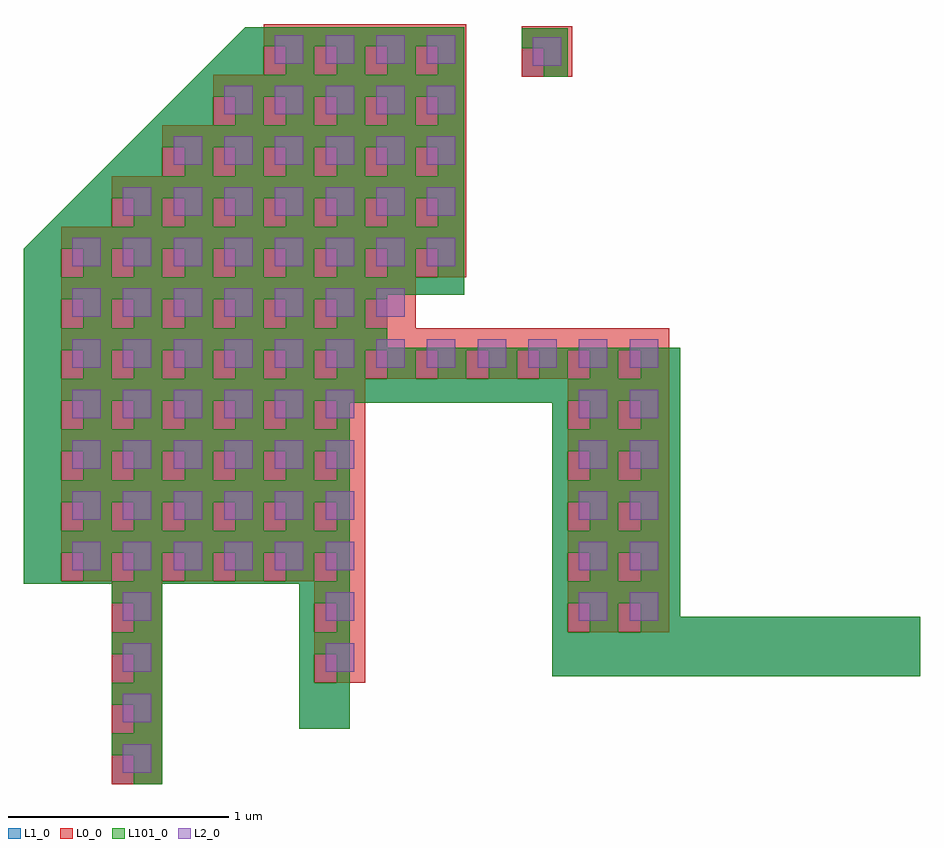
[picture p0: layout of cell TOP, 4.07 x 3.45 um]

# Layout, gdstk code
import gdstk
lib = gdstk.Library(unit=1e-6, precision=1e-09)
def R(c, l, rs):  # rectangles x0, y0, x1, y1
    for r in rs: c.add(gdstk.rectangle(r[:2], r[2:], *l))
def P(c, l, *ps):  # polygons
    for p in ps: c.add(gdstk.Polygon(p, *l))
L0_0 = (0, 0)
L1_0 = (1, 0)
L2_0 = (2, 0)
L101_0 = (101, 0)

fill_cell = lib.new_cell('FILL_CELL')
R(fill_cell, L0_0, [(-0.1,-0.13,0.13,0.1)])
R(fill_cell, L2_0, [(-0.05,-0.08,0.08,0.05)])

top = lib.new_cell('TOP')
R(top, L1_0, [(1.76,1.79,1.97,2.01)])
P(top, L1_0, [(-0.1,-1.42),(-0.1,-0.51),(-0.5,-0.51),(-0.5,1.01),(0.505,2.015),(1.5,2.015),(1.5,0.8),(1.15,0.8),(1.15,0.56),(2.48,0.56),(2.48,-0.66),(3.57,-0.66),(3.57,-0.93),(1.9,-0.93),(1.9,0.31),(0.98,0.31),(0.98,-1.17),(0.75,-1.17),(0.75,-0.51),(0.13,-0.51),(0.13,-1.42)])
P(top, L101_0, [(1.86,1.79),(1.86,1.92),(1.76,1.92),(1.76,2.01),(1.97,2.01),(1.97,1.79)],
  [(0,-1.42),(0,-1.29),(-0.1,-1.29),(-0.1,-1.19),(0,-1.19),(0,-1.06),(-0.1,-1.06),(-0.1,-0.96),(0,-0.96),(0,-0.83),(-0.1,-0.83),(-0.1,-0.73),(0,-0.73),(0,-0.6),(-0.1,-0.6),(-0.1,-0.51),(-0.5,-0.51),(-0.5,-0.37),(-0.33,-0.37),(-0.33,-0.5),(-0.23,-0.5),(-0.23,-0.37),(-0.1,-0.37),(-0.1,-0.5),(0,-0.5),(0,-0.37),(0.13,-0.37),(0.13,-0.5),(0.23,-0.5),(0.23,-0.37),(0.36,-0.37),(0.36,-0.5),(0.46,-0.5),(0.46,-0.37),(0.59,-0.37),(0.59,-0.5),(0.69,-0.5),(0.69,-0.37),(0.82,-0.37),(0.82,-0.5),(0.92,-0.5),(0.92,-0.37),(-0.5,-0.37),(-0.5,-0.14),(-0.33,-0.14),(-0.33,-0.27),(-0.23,-0.27),(-0.23,-0.14),(-0.1,-0.14),(-0.1,-0.27),(0,-0.27),(0,-0.14),(0.13,-0.14),(0.13,-0.27),(0.23,-0.27),(0.23,-0.14),(0.36,-0.14),(0.36,-0.27),(0.46,-0.27),(0.46,-0.14),(0.59,-0.14),(0.59,-0.27),(0.69,-0.27),(0.69,-0.14),(0.82,-0.14),(0.82,-0.27),(0.92,-0.27),(0.92,-0.14),(-0.5,-0.14),(-0.5,0.09),(-0.33,0.09),(-0.33,-0.04),(-0.23,-0.04),(-0.23,0.09),(-0.1,0.09),(-0.1,-0.04),(0,-0.04),(0,0.09),(0.13,0.09),(0.13,-0.04),(0.23,-0.04),(0.23,0.09),(0.36,0.09),(0.36,-0.04),(0.46,-0.04),(0.46,0.09),(0.59,0.09),(0.59,-0.04),(0.69,-0.04),(0.69,0.09),(0.82,0.09),(0.82,-0.04),(0.92,-0.04),(0.92,0.09),(-0.5,0.09),(-0.5,0.32),(-0.33,0.32),(-0.33,0.19),(-0.23,0.19),(-0.23,0.32),(-0.1,0.32),(-0.1,0.19),(0,0.19),(0,0.32),(0.13,0.32),(0.13,0.19),(0.23,0.19),(0.23,0.32),(0.36,0.32),(0.36,0.19),(0.46,0.19),(0.46,0.32),(0.59,0.32),(0.59,0.19),(0.69,0.19),(0.69,0.32),(0.82,0.32),(0.82,0.19),(0.92,0.19),(0.92,0.32),(1.97,0.32),(1.97,0.19),(2.07,0.19),(2.07,0.32),(2.2,0.32),(2.2,0.19),(2.3,0.19),(2.3,0.32),(-0.5,0.32),(-0.5,0.55),(-0.33,0.55),(-0.33,0.42),(-0.23,0.42),(-0.23,0.55),(-0.1,0.55),(-0.1,0.42),(0,0.42),(0,0.55),(0.13,0.55),(0.13,0.42),(0.23,0.42),(0.23,0.55),(0.36,0.55),(0.36,0.42),(0.46,0.42),(0.46,0.55),(0.59,0.55),(0.59,0.42),(0.69,0.42),(0.69,0.55),(0.82,0.55),(0.82,0.42),(0.92,0.42),(0.92,0.55),(1.05,0.55),(1.05,0.42),(1.15,0.42),(1.15,0.55),(1.28,0.55),(1.28,0.42),(1.38,0.42),(1.38,0.55),(1.51,0.55),(1.51,0.42),(1.61,0.42),(1.61,0.55),(1.74,0.55),(1.74,0.42),(1.84,0.42),(1.84,0.55),(1.97,0.55),(1.97,0.42),(2.07,0.42),(2.07,0.55),(2.2,0.55),(2.2,0.42),(2.3,0.42),(2.3,0.55),(-0.5,0.55),(-0.5,0.78),(-0.33,0.78),(-0.33,0.65),(-0.23,0.65),(-0.23,0.78),(-0.1,0.78),(-0.1,0.65),(0,0.65),(0,0.78),(0.13,0.78),(0.13,0.65),(0.23,0.65),(0.23,0.78),(0.36,0.78),(0.36,0.65),(0.46,0.65),(0.46,0.78),(0.59,0.78),(0.59,0.65),(0.69,0.65),(0.69,0.78),(0.82,0.78),(0.82,0.65),(0.92,0.65),(0.92,0.78),(-0.5,0.78),(-0.5,1.01),(-0.33,1.01),(-0.33,0.88),(-0.23,0.88),(-0.23,1.01),(-0.1,1.01),(-0.1,0.88),(0,0.88),(0,1.01),(0.13,1.01),(0.13,0.88),(0.23,0.88),(0.23,1.01),(0.36,1.01),(0.36,0.88),(0.46,0.88),(0.46,1.01),(0.59,1.01),(0.59,0.88),(0.69,0.88),(0.69,1.01),(0.82,1.01),(0.82,0.88),(0.92,0.88),(0.92,1.01),(1.05,1.01),(1.05,0.88),(1.15,0.88),(1.15,1.01),(1.28,1.01),(1.28,0.88),(1.38,0.88),(1.38,1.01),(-0.5,1.01),(-0.27,1.24),(-0.1,1.24),(-0.1,1.11),(0,1.11),(0,1.24),(0.13,1.24),(0.13,1.11),(0.23,1.11),(0.23,1.24),(0.36,1.24),(0.36,1.11),(0.46,1.11),(0.46,1.24),(0.59,1.24),(0.59,1.11),(0.69,1.11),(0.69,1.24),(0.82,1.24),(0.82,1.11),(0.92,1.11),(0.92,1.24),(1.05,1.24),(1.05,1.11),(1.15,1.11),(1.15,1.24),(1.28,1.24),(1.28,1.11),(1.38,1.11),(1.38,1.24),(-0.27,1.24),(-0.04,1.47),(0.13,1.47),(0.13,1.34),(0.23,1.34),(0.23,1.47),(0.36,1.47),(0.36,1.34),(0.46,1.34),(0.46,1.47),(0.59,1.47),(0.59,1.34),(0.69,1.34),(0.69,1.47),(0.82,1.47),(0.82,1.34),(0.92,1.34),(0.92,1.47),(1.05,1.47),(1.05,1.34),(1.15,1.34),(1.15,1.47),(1.28,1.47),(1.28,1.34),(1.38,1.34),(1.38,1.47),(-0.04,1.47),(0.19,1.7),(0.36,1.7),(0.36,1.57),(0.46,1.57),(0.46,1.7),(0.59,1.7),(0.59,1.57),(0.69,1.57),(0.69,1.7),(0.82,1.7),(0.82,1.57),(0.92,1.57),(0.92,1.7),(1.05,1.7),(1.05,1.57),(1.15,1.57),(1.15,1.7),(1.28,1.7),(1.28,1.57),(1.38,1.57),(1.38,1.7),(0.19,1.7),(0.42,1.93),(0.59,1.93),(0.59,1.8),(0.69,1.8),(0.69,1.93),(0.82,1.93),(0.82,1.8),(0.92,1.8),(0.92,1.93),(1.05,1.93),(1.05,1.8),(1.15,1.8),(1.15,1.93),(1.28,1.93),(1.28,1.8),(1.38,1.8),(1.38,1.93),(0.42,1.93),(0.505,2.015),(1.5,2.015),(1.5,0.8),(1.15,0.8),(1.15,0.78),(1.05,0.78),(1.05,0.65),(1.15,0.65),(1.15,0.56),(2.48,0.56),(2.48,-0.66),(3.57,-0.66),(3.57,-0.93),(1.9,-0.93),(1.9,-0.6),(1.97,-0.6),(1.97,-0.73),(2.07,-0.73),(2.07,-0.6),(2.2,-0.6),(2.2,-0.73),(2.3,-0.73),(2.3,-0.6),(1.9,-0.6),(1.9,-0.37),(1.97,-0.37),(1.97,-0.5),(2.07,-0.5),(2.07,-0.37),(2.2,-0.37),(2.2,-0.5),(2.3,-0.5),(2.3,-0.37),(1.9,-0.37),(1.9,-0.14),(1.97,-0.14),(1.97,-0.27),(2.07,-0.27),(2.07,-0.14),(2.2,-0.14),(2.2,-0.27),(2.3,-0.27),(2.3,-0.14),(1.9,-0.14),(1.9,0.09),(1.97,0.09),(1.97,-0.04),(2.07,-0.04),(2.07,0.09),(2.2,0.09),(2.2,-0.04),(2.3,-0.04),(2.3,0.09),(1.9,0.09),(1.9,0.31),(0.98,0.31),(0.98,-1.17),(0.75,-1.17),(0.75,-0.83),(0.82,-0.83),(0.82,-0.96),(0.92,-0.96),(0.92,-0.83),(0.75,-0.83),(0.75,-0.6),(0.82,-0.6),(0.82,-0.73),(0.92,-0.73),(0.92,-0.6),(0.75,-0.6),(0.75,-0.51),(0.13,-0.51),(0.13,-1.42)])
top.add(gdstk.Reference(fill_cell, (1.86,1.92)))
r = gdstk.Reference(fill_cell, (-0.23,-0.37)); r.repetition = gdstk.Repetition(1, 7, v1=(0,0), v2=(0,0.23)); top.add(r)
r = gdstk.Reference(fill_cell, (0,-1.29)); r.repetition = gdstk.Repetition(1, 12, v1=(0,0), v2=(0,0.23)); top.add(r)
r = gdstk.Reference(fill_cell, (0.23,-0.37)); r.repetition = gdstk.Repetition(1, 9, v1=(0,0), v2=(0,0.23)); top.add(r)
r = gdstk.Reference(fill_cell, (0.46,-0.37)); r.repetition = gdstk.Repetition(1, 10, v1=(0,0), v2=(0,0.23)); top.add(r)
r = gdstk.Reference(fill_cell, (0.69,-0.37)); r.repetition = gdstk.Repetition(1, 11, v1=(0,0), v2=(0,0.23)); top.add(r)
r = gdstk.Reference(fill_cell, (0.92,-0.83)); r.repetition = gdstk.Repetition(1, 13, v1=(0,0), v2=(0,0.23)); top.add(r)
r = gdstk.Reference(fill_cell, (1.15,0.55)); r.repetition = gdstk.Repetition(1, 7, v1=(0,0), v2=(0,0.23)); top.add(r)
top.add(gdstk.Reference(fill_cell, (1.38,0.55)))
r = gdstk.Reference(fill_cell, (1.38,1.01)); r.repetition = gdstk.Repetition(1, 5, v1=(0,0), v2=(0,0.23)); top.add(r)
top.add(gdstk.Reference(fill_cell, (1.61,0.55)))
top.add(gdstk.Reference(fill_cell, (1.84,0.55)))
r = gdstk.Reference(fill_cell, (2.07,-0.6)); r.repetition = gdstk.Repetition(1, 6, v1=(0,0), v2=(0,0.23)); top.add(r)
r = gdstk.Reference(fill_cell, (2.3,-0.6)); r.repetition = gdstk.Repetition(1, 6, v1=(0,0), v2=(0,0.23)); top.add(r)

lib.write_gds('TOP.gds')
